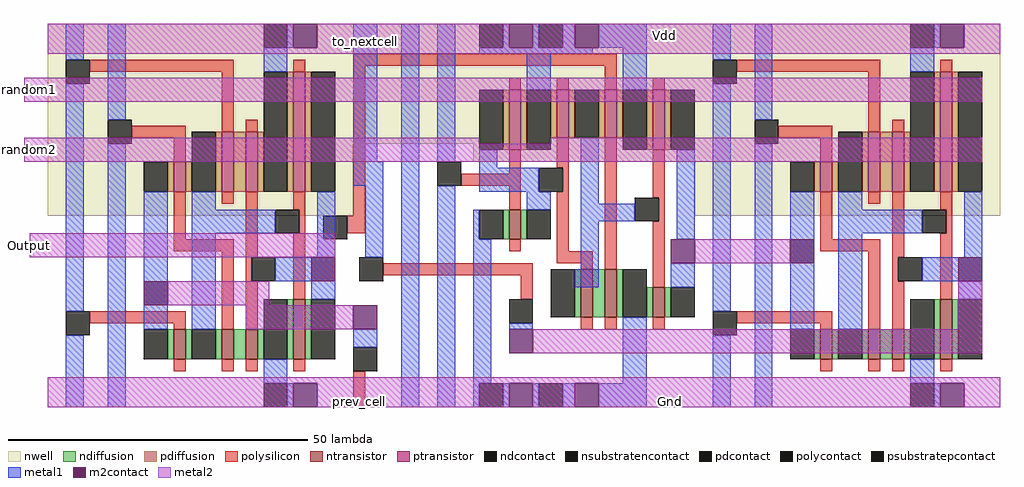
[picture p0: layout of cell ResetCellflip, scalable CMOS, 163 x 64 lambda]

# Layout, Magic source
magic
tech scmos
<< nwell >>
rect 64 131 121 151
rect 84 128 121 131
<< polysilicon >>
rect 64 144 108 146
rect 64 119 66 144
rect 90 140 92 142
rect 98 140 100 142
rect 106 140 108 144
rect 114 140 116 142
rect 90 126 92 130
rect 98 127 100 132
rect 82 124 92 126
rect 90 120 92 124
rect 99 123 100 127
rect 63 116 66 119
rect 90 113 92 115
rect 98 113 100 123
rect 98 111 104 113
rect 69 109 94 111
rect 102 110 104 111
rect 106 110 108 132
rect 114 122 116 130
rect 115 118 116 122
rect 92 105 94 109
rect 114 107 116 118
rect 102 100 104 102
rect 106 100 108 102
rect 114 100 116 102
rect 64 87 66 93
<< ndiffusion >>
rect 89 115 90 120
rect 92 115 93 120
rect 101 102 102 110
rect 104 102 106 110
rect 108 102 109 110
rect 113 102 114 107
rect 116 102 117 107
<< pdiffusion >>
rect 89 130 90 140
rect 92 130 93 140
rect 97 132 98 140
rect 100 132 101 140
rect 105 132 106 140
rect 108 132 109 140
rect 113 130 114 140
rect 116 130 117 140
<< metal1 >>
rect 64 128 68 151
rect 64 124 69 128
rect 66 112 69 124
rect 64 97 68 100
rect 72 87 75 151
rect 78 128 81 151
rect 89 147 90 151
rect 94 147 95 151
rect 99 147 101 151
rect 105 147 113 151
rect 85 146 104 147
rect 93 140 97 146
rect 109 140 113 147
rect 85 127 88 130
rect 78 87 81 124
rect 85 123 95 127
rect 93 120 97 123
rect 84 115 85 120
rect 102 121 105 132
rect 102 118 111 121
rect 84 91 87 115
rect 102 110 105 118
rect 118 115 121 130
rect 101 107 105 110
rect 117 107 121 111
rect 90 100 94 101
rect 109 91 113 102
rect 84 87 85 91
rect 89 87 90 91
rect 94 87 95 91
rect 99 87 101 91
rect 105 87 113 91
<< metal2 >>
rect 64 147 90 151
rect 94 147 101 151
rect 105 147 121 151
rect 64 146 121 147
rect 9 138 169 142
rect 9 131 85 132
rect 97 131 169 132
rect 9 128 169 131
rect 10 112 61 116
rect 121 111 137 115
rect 33 104 50 108
rect 46 100 64 104
rect 165 100 169 108
rect 94 96 169 100
rect 64 91 121 92
rect 64 87 90 91
rect 94 87 101 91
rect 105 87 121 91
<< ntransistor >>
rect 90 115 92 120
rect 102 102 104 110
rect 106 102 108 110
rect 114 102 116 107
<< ptransistor >>
rect 90 130 92 140
rect 98 132 100 140
rect 106 132 108 140
rect 114 130 116 140
<< polycontact >>
rect 78 124 82 128
rect 95 123 99 127
rect 59 115 63 119
rect 65 108 69 112
rect 111 118 115 122
rect 90 101 94 105
rect 64 93 68 97
<< ndcontact >>
rect 85 115 89 120
rect 93 115 97 120
rect 97 102 101 110
rect 109 102 113 110
rect 117 102 121 107
<< pdcontact >>
rect 85 130 89 140
rect 93 130 97 140
rect 101 132 105 140
rect 109 130 113 140
rect 117 130 121 140
<< m2contact >>
rect 57 108 61 112
rect 29 104 33 108
rect 64 100 68 104
rect 90 147 94 151
rect 101 147 105 151
rect 117 111 121 115
rect 137 111 141 115
rect 165 108 169 112
rect 90 96 94 100
rect 90 87 94 91
rect 101 87 105 91
<< psubstratepcontact >>
rect 85 87 89 91
rect 95 87 99 91
<< nsubstratencontact >>
rect 85 147 89 151
rect 95 147 99 151
use InvLatch InvLatch_0
transform 1 0 14 0 1 87
box -1 0 50 64
use InvLatch InvLatch_3
transform 1 0 122 0 1 87
box -1 0 50 64
<< labels >>
rlabel metal2 10 140 10 140 3 random1
rlabel metal2 9 130 9 130 3 random2
rlabel metal2 10 114 10 114 3 Output
rlabel metal2 117 88 117 88 1 Gnd
rlabel metal2 116 149 116 149 5 Vdd
rlabel metal1 66 148 66 148 1 to_nextcell
rlabel polysilicon 65 88 65 88 5 prev_cell
<< end >>

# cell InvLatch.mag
magic
tech scmos
<< nwell >>
rect -1 32 50 64
<< polysilicon >>
rect 6 56 30 58
rect 40 56 42 58
rect 13 45 22 47
rect 28 46 30 56
rect 32 46 34 48
rect 20 41 22 45
rect 20 28 22 36
rect 28 34 30 36
rect 20 26 30 28
rect 6 14 22 16
rect 20 13 22 14
rect 28 13 30 26
rect 32 25 34 36
rect 40 33 42 36
rect 41 29 42 33
rect 32 21 33 25
rect 32 13 34 21
rect 40 18 42 29
rect 20 6 22 8
rect 28 6 30 8
rect 32 6 34 8
rect 40 6 42 8
<< ndiffusion >>
rect 19 8 20 13
rect 22 8 23 13
rect 27 8 28 13
rect 30 8 32 13
rect 34 8 35 13
rect 39 8 40 18
rect 42 8 43 18
<< pdiffusion >>
rect 19 36 20 41
rect 22 36 23 41
rect 27 36 28 46
rect 30 36 32 46
rect 34 36 35 46
rect 39 36 40 56
rect 42 36 43 56
<< metal1 >>
rect 2 58 5 64
rect 2 16 5 54
rect 9 48 12 64
rect 39 60 40 64
rect 35 56 39 60
rect 2 0 5 12
rect 9 0 12 44
rect 15 13 19 36
rect 23 33 27 36
rect 23 29 37 33
rect 23 13 27 29
rect 44 25 47 36
rect 37 21 47 25
rect 43 18 47 21
rect 35 4 39 8
rect 39 0 40 4
<< metal2 >>
rect -1 60 40 64
rect 44 60 50 64
rect -1 59 50 60
rect -1 4 50 5
rect -1 0 40 4
rect 44 0 50 4
<< ntransistor >>
rect 20 8 22 13
rect 28 8 30 13
rect 32 8 34 13
rect 40 8 42 18
<< ptransistor >>
rect 20 36 22 41
rect 28 36 30 46
rect 32 36 34 46
rect 40 36 42 56
<< polycontact >>
rect 2 54 6 58
rect 9 44 13 48
rect 2 12 6 16
rect 37 29 41 33
rect 33 21 37 25
<< ndcontact >>
rect 15 8 19 13
rect 23 8 27 13
rect 35 8 39 18
rect 43 8 47 18
<< pdcontact >>
rect 15 36 19 41
rect 23 36 27 46
rect 35 36 39 56
rect 43 36 47 56
<< m2contact >>
rect 40 60 44 64
rect 40 0 44 4
<< psubstratepcontact >>
rect 35 0 39 4
<< nsubstratencontact >>
rect 35 60 39 64
<< labels >>
rlabel metal2 34 2 34 2 1 Gnd
rlabel metal1 11 21 11 21 1 Phi_b
rlabel metal1 3 22 3 22 1 Phi
rlabel metal2 31 61 31 61 1 Vdd
rlabel metal1 17 22 17 22 1 In
rlabel metal1 46 30 46 30 1 Out_b
<< end >>
